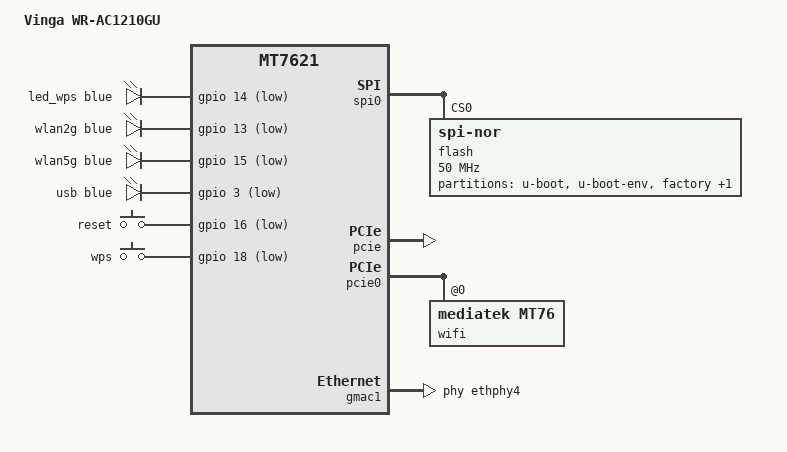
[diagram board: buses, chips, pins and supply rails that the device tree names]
// SPDX-License-Identifier: GPL-2.0-or-later OR MIT
/*
 * Vinga WR-AC1210GU (ODM: JCG JIR-AC680M)
 * MT7621A, 256 MB DDR3, 16 MB SPI-NOR (mod), single MT7615 DBDC (2.4 + 5 GHz)
 * Based on jcg_jhr-ac876m (same layout) and glinet_gl-mt1300 (single MT7615 DBDC).
 * GPIO map measured on the board, see Vinga_WR-AC1210GU_hardware.txt.
 */

#include "mt7621.dtsi"

#include <dt-bindings/gpio/gpio.h>
#include <dt-bindings/input/input.h>
#include <dt-bindings/leds/common.h>

/ {
	compatible = "vinga,wr-ac1210gu", "mediatek,mt7621-soc";
	model = "Vinga WR-AC1210GU";

	aliases {
		led-boot = &led_wps;
		led-failsafe = &led_wps;
		led-upgrade = &led_wps;
		label-mac-device = &gmac0;
	};

	chosen {
		bootargs = "console=ttyS0,115200";
	};

	leds {
		compatible = "gpio-leds";

		/* power LED is hard-wired to 3.3 V, not controllable */

		led_wps: wps {
			function = LED_FUNCTION_WPS;
			color = <LED_COLOR_ID_BLUE>;
			gpios = <&gpio 14 GPIO_ACTIVE_LOW>;
		};

		wlan2g {
			function = LED_FUNCTION_WLAN_2GHZ;
			color = <LED_COLOR_ID_BLUE>;
			gpios = <&gpio 13 GPIO_ACTIVE_LOW>;
			linux,default-trigger = "phy0radio";
		};

		wlan5g {
			function = LED_FUNCTION_WLAN_5GHZ;
			color = <LED_COLOR_ID_BLUE>;
			gpios = <&gpio 15 GPIO_ACTIVE_LOW>;
			linux,default-trigger = "phy1radio";
		};

		usb {
			function = LED_FUNCTION_USB;
			color = <LED_COLOR_ID_BLUE>;
			gpios = <&gpio 3 GPIO_ACTIVE_LOW>;
			trigger-sources = <&xhci_ehci_port1>;
			linux,default-trigger = "usbport";
		};
	};

	keys {
		compatible = "gpio-keys";

		reset {
			label = "reset";
			gpios = <&gpio 16 GPIO_ACTIVE_LOW>;
			linux,code = <KEY_RESTART>;
			debounce-interval = <80>;
		};

		wps {
			label = "wps";
			gpios = <&gpio 18 GPIO_ACTIVE_LOW>;
			linux,code = <KEY_WPS_BUTTON>;
			debounce-interval = <80>;
		};
	};
};

&spi0 {
	status = "okay";

	flash@0 {
		compatible = "jedec,spi-nor";
		reg = <0>;
		spi-max-frequency = <50000000>;
		m25p,fast-read;

		partitions {
			compatible = "fixed-partitions";
			#address-cells = <1>;
			#size-cells = <1>;

			partition@0 {
				label = "u-boot";	/* Breed */
				reg = <0x0 0x30000>;
				read-only;
			};

			partition@30000 {
				label = "u-boot-env";
				reg = <0x30000 0x10000>;
				read-only;
			};

			partition@40000 {
				label = "factory";
				reg = <0x40000 0x10000>;
				read-only;

				nvmem-layout {
					compatible = "fixed-layout";
					#address-cells = <1>;
					#size-cells = <1>;

					eeprom_factory_0: eeprom@0 {
						reg = <0x0 0x4da8>;
					};

					/* Wi-Fi base MAC (stock: …F8) */
					macaddr_factory_4: macaddr@4 {
						compatible = "mac-base";
						reg = <0x4 0x6>;
						#nvmem-cell-cells = <1>;
					};

					/* LAN MAC (stock: base-1) */
					macaddr_factory_e000: macaddr@e000 {
						reg = <0xe000 0x6>;
					};

					/* WAN MAC (stock: base-2) */
					macaddr_factory_e006: macaddr@e006 {
						reg = <0xe006 0x6>;
					};
				};
			};

			partition@50000 {
				compatible = "denx,uimage";
				label = "firmware";
				reg = <0x50000 0xfb0000>;
			};
		};
	};
};

&pcie {
	status = "okay";
};

/* single MT7615 in DBDC mode: band 0 = 2.4 GHz, band 1 = 5 GHz */
&pcie0 {
	wifi@0,0 {
		compatible = "mediatek,mt76";
		reg = <0x0000 0 0 0 0>;
		nvmem-cells = <&eeprom_factory_0>;
		nvmem-cell-names = "eeprom";

		#address-cells = <1>;
		#size-cells = <0>;

		band@1 {
			reg = <1>;
			nvmem-cells = <&macaddr_factory_4 1>;
			nvmem-cell-names = "mac-address";
		};
	};
};

&gmac0 {
	nvmem-cells = <&macaddr_factory_e000>;
	nvmem-cell-names = "mac-address";
};

&gmac1 {
	status = "okay";
	label = "wan";
	phy-handle = <&ethphy4>;

	nvmem-cells = <&macaddr_factory_e006>;
	nvmem-cell-names = "mac-address";
};

&ethphy4 {
	/delete-property/ interrupts;
};

/* port numbering checked against the case labels (padavan LAN1=0 … LAN4=3) */
&switch0 {
	ports {
		port@0 {
			status = "okay";
			label = "lan1";
		};

		port@1 {
			status = "okay";
			label = "lan2";
		};

		port@2 {
			status = "okay";
			label = "lan3";
		};

		port@3 {
			status = "okay";
			label = "lan4";
		};
	};
};

&state_default {
	gpio {
		groups = "i2c", "uart2", "uart3", "jtag", "wdt";
		function = "gpio";
	};
};
